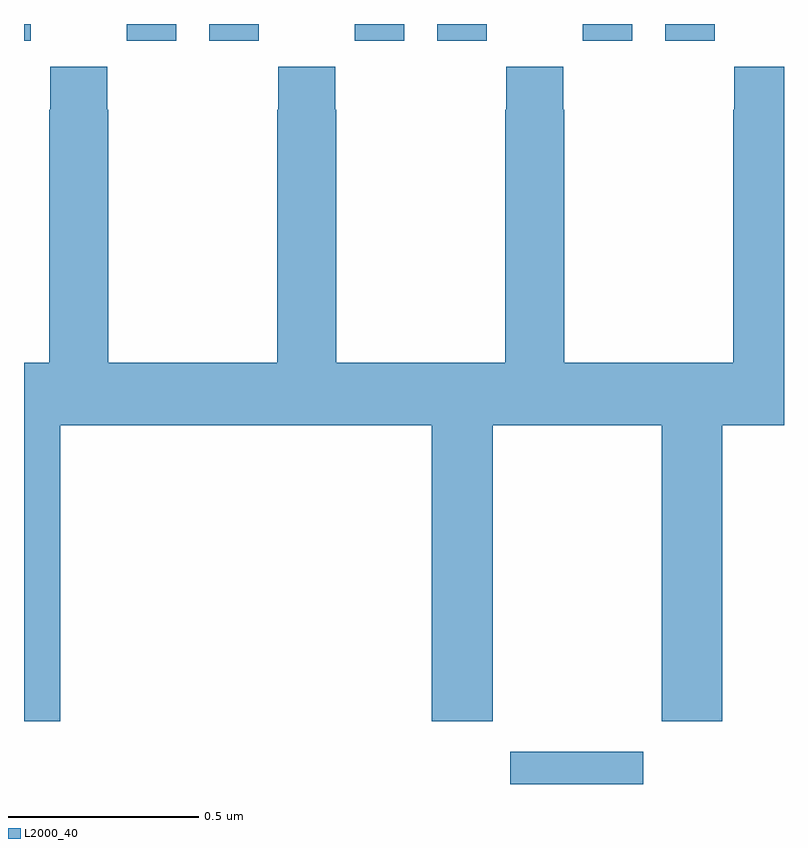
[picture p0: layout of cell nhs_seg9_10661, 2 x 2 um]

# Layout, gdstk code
import gdstk
lib = gdstk.Library(unit=1e-6, precision=1e-09)
def R(c, l, rs):  # rectangles x0, y0, x1, y1
    for r in rs: c.add(gdstk.rectangle(r[:2], r[2:], *l))
def P(c, l, *ps):  # polygons
    for p in ps: c.add(gdstk.Polygon(p, *l))
L2000_40 = (2000, 40)

nhs_seg9_10661 = lib.new_cell('nhs_seg9_10661')
R(nhs_seg9_10661, L2000_40, [(247.28,1171.5,247.63,1171.585), (246,1173.456,246.018,1173.5), (246.27,1173.456,246.4,1173.5), (246.488,1173.456,246.618,1173.5), (246.87,1173.456,247,1173.5), (247.088,1173.456,247.218,1173.5), (247.47,1173.456,247.6,1173.5), (247.688,1173.456,247.818,1173.5)])
P(nhs_seg9_10661, L2000_40, [(246.095,1172.444),(247.073,1172.444),(247.073,1171.665),(247.233,1171.665),(247.233,1172.444),(247.678,1172.444),(247.678,1171.665),(247.838,1171.665),(247.838,1172.444),(248,1172.444),(248,1173.388),(247.869,1173.388),(247.869,1173.275),(247.867,1173.275),(247.867,1172.608),(247.422,1172.608),(247.422,1173.275),(247.419,1173.275),(247.419,1173.388),(247.269,1173.388),(247.269,1173.275),(247.267,1173.275),(247.267,1172.608),(246.822,1172.608),(246.822,1173.275),(246.819,1173.275),(246.819,1173.388),(246.669,1173.388),(246.669,1173.275),(246.667,1173.275),(246.667,1172.608),(246.222,1172.608),(246.222,1173.275),(246.219,1173.275),(246.219,1173.388),(246.069,1173.388),(246.069,1173.275),(246.067,1173.275),(246.067,1172.608),(246,1172.608),(246,1171.665),(246.095,1171.665)])

lib.write_gds('nhs_seg9_10661.gds')
